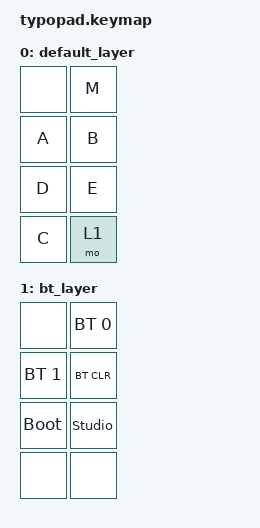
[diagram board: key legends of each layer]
#include <behaviors.dtsi>
#include <dt-bindings/zmk/keys.h>
#include <dt-bindings/zmk/bt.h>

/ {
    keymap {
        compatible = "zmk,keymap";

        default_layer {
            bindings = <
                &none    &kp M 
                &kp A    &kp B 
                &kp D    &kp E 
                &kp C    &mo 1 
            >;
        };

        bt_layer {
            bindings = <
                &none    &bt BT_SEL 0 
                &bt BT_SEL 1    &bt BT_CLR 
                &bootloader    &studio_unlock
                &none    &none
            >;
        };
    };
 };
